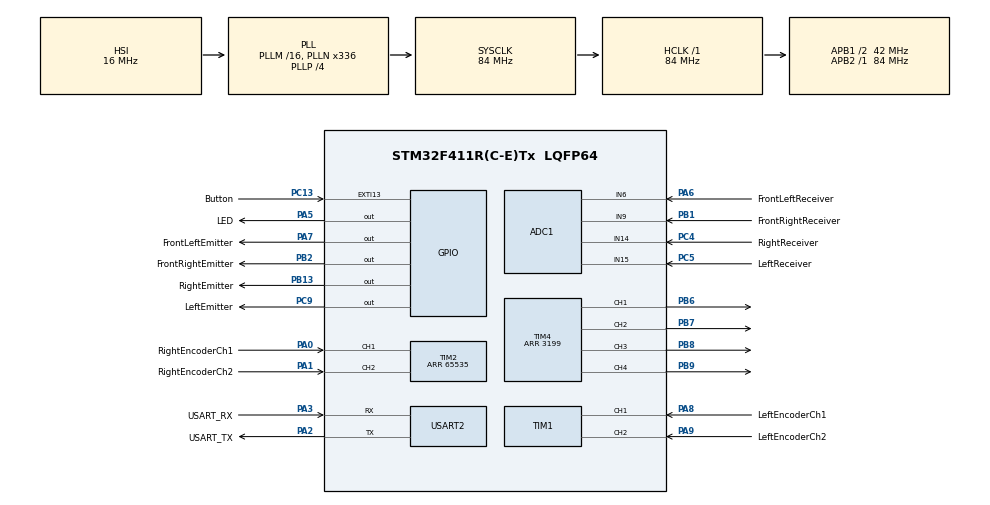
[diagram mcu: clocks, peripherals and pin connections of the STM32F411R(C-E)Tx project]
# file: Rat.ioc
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ADC1.Channel-0\#ChannelRegularConversion=ADC_CHANNEL_15
ADC1.ContinuousConvMode=ENABLE
ADC1.DMAContinuousRequests=ENABLE
ADC1.NbrOfConversionFlag=1
ADC1.Rank-0\#ChannelRegularConversion=1
ADC1.SamplingTime-0\#ChannelRegularConversion=ADC_SAMPLETIME_3CYCLES
ADC1.master=1
Dma.ADC1.0.Direction=DMA_PERIPH_TO_MEMORY
Dma.ADC1.0.FIFOMode=DMA_FIFOMODE_DISABLE
Dma.ADC1.0.Instance=DMA2_Stream0
Dma.ADC1.0.MemDataAlignment=DMA_MDATAALIGN_HALFWORD
Dma.ADC1.0.MemInc=DMA_MINC_ENABLE
Dma.ADC1.0.Mode=DMA_NORMAL
Dma.ADC1.0.PeriphDataAlignment=DMA_PDATAALIGN_HALFWORD
Dma.ADC1.0.PeriphInc=DMA_PINC_DISABLE
Dma.ADC1.0.Priority=DMA_PRIORITY_LOW
Dma.Request0=ADC1
Mcu.Family=STM32F4
Mcu.Name=STM32F411R(C-E)Tx
Mcu.Package=LQFP64
NVIC.DMA2_Stream0_IRQn=true\:0\:0\:false\:false\:true\:false\:true\:true
NVIC.EXTI15_10_IRQn=true\:0\:0\:false\:false\:true\:true\:true\:true
NVIC.PriorityGroup=NVIC_PRIORITYGROUP_0
NVIC.TIM4_IRQn=true\:0\:0\:false\:false\:true\:true\:true\:true
PA0-WKUP.GPIO_Label=RightEncoderCh1
PA0-WKUP.Signal=S_TIM2_CH1_ETR
PA1.GPIO_Label=RightEncoderCh2
PA1.Signal=S_TIM2_CH2
PA13.GPIO_Label=TMS
PA13.Mode=Serial_Wire
PA13.Signal=SYS_JTMS-SWDIO
PA14.GPIO_Label=TCK
PA14.Mode=Serial_Wire
PA14.Signal=SYS_JTCK-SWCLK
PA2.GPIO_Label=USART_TX
PA2.Mode=Asynchronous
PA2.Signal=USART2_TX
PA3.GPIO_Label=USART_RX
PA3.Mode=Asynchronous
PA3.Signal=USART2_RX
PA5.GPIO_Label=LED
PA5.Signal=GPIO_Output
PA6.GPIO_Label=FrontLeftReceiver
PA6.Signal=ADCx_IN6
PA7.GPIO_Label=FrontLeftEmitter
PA7.Signal=GPIO_Output
PA8.GPIO_Label=LeftEncoderCh1
PA8.Signal=S_TIM1_CH1
PA9.GPIO_Label=LeftEncoderCh2
PA9.Signal=S_TIM1_CH2
PB1.GPIO_Label=FrontRightReceiver
PB1.Signal=ADCx_IN9
PB13.GPIO_Label=RightEmitter
PB13.Signal=GPIO_Output
PB2.GPIO_Label=FrontRightEmitter
PB2.Signal=GPIO_Output
PB3.GPIO_Label=SWO
PB3.Signal=SYS_JTDO-SWO
PB6.Signal=S_TIM4_CH1
PB7.Signal=S_TIM4_CH2
PB8.Signal=S_TIM4_CH3
PB9.Signal=S_TIM4_CH4
PC13-ANTI_TAMP.GPIO_Label=Button
PC13-ANTI_TAMP.GPIO_ModeDefaultEXTI=GPIO_MODE_IT_RISING_FALLING
PC13-ANTI_TAMP.Signal=GPXTI13
PC14-OSC32_IN.Mode=LSE-External-Oscillator
PC14-OSC32_IN.Signal=RCC_OSC32_IN
PC15-OSC32_OUT.Mode=LSE-External-Oscillator
PC15-OSC32_OUT.Signal=RCC_OSC32_OUT
PC4.GPIO_Label=RightReceiver
PC4.Signal=ADCx_IN14
PC5.GPIO_Label=LeftReceiver
PC5.Signal=ADCx_IN15
PC9.GPIO_Label=LeftEmitter
PC9.Signal=GPIO_Output
PH0\ -\ OSC_IN.Mode=HSE-External-Clock-Source
PH0\ -\ OSC_IN.Signal=RCC_OSC_IN
PH1\ -\ OSC_OUT.Mode=HSE-External-Clock-Source
PH1\ -\ OSC_OUT.Signal=RCC_OSC_OUT
ProjectManager.HeapSize=0x200
ProjectManager.StackSize=0x400
ProjectManager.TargetToolchain=STM32CubeIDE
RCC.48MHZClocksFreq_Value=84000000
RCC.AHBFreq_Value=84000000
RCC.APB1CLKDivider=RCC_HCLK_DIV2
RCC.APB1Freq_Value=42000000
RCC.APB1TimFreq_Value=84000000
RCC.APB2Freq_Value=84000000
RCC.APB2TimFreq_Value=84000000
RCC.CortexFreq_Value=84000000
RCC.FLatency-AdvancedSettings=FLASH_LATENCY_2
RCC.HCLKFreq_Value=84000000
RCC.HSE_VALUE=8000000
RCC.HSI_VALUE=16000000
RCC.PLLN=336
RCC.PLLP=RCC_PLLP_DIV4
RCC.SYSCLKFreq_VALUE=84000000
RCC.SYSCLKSource=RCC_SYSCLKSOURCE_PLLCLK
RCC.VCOOutputFreq_Value=336000000
SH.ADCx_IN14.0=ADC1_IN14,IN14
SH.ADCx_IN15.0=ADC1_IN15,IN15
SH.ADCx_IN6.0=ADC1_IN6,IN6
SH.ADCx_IN9.0=ADC1_IN9,IN9
SH.S_TIM1_CH1.0=TIM1_CH1,Encoder_Interface
SH.S_TIM1_CH2.0=TIM1_CH2,Encoder_Interface
SH.S_TIM2_CH1_ETR.0=TIM2_CH1,Encoder_Interface
SH.S_TIM2_CH2.0=TIM2_CH2,Encoder_Interface
SH.S_TIM4_CH1.0=TIM4_CH1,PWM Generation1 CH1
SH.S_TIM4_CH2.0=TIM4_CH2,PWM Generation2 CH2
SH.S_TIM4_CH3.0=TIM4_CH3,PWM Generation3 CH3
SH.S_TIM4_CH4.0=TIM4_CH4,PWM Generation4 CH4
TIM1.EncoderMode=TIM_ENCODERMODE_TI12
TIM2.EncoderMode=TIM_ENCODERMODE_TI12
TIM2.Period=65535
TIM4.Channel-PWM\ Generation1\ CH1=TIM_CHANNEL_1
TIM4.Channel-PWM\ Generation2\ CH2=TIM_CHANNEL_2
TIM4.Channel-PWM\ Generation3\ CH3=TIM_CHANNEL_3
TIM4.Channel-PWM\ Generation4\ CH4=TIM_CHANNEL_4
TIM4.Period=3199
USART2.VirtualMode=VM_ASYNC
board=NUCLEO-F411RE

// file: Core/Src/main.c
/* USER CODE BEGIN Header */
/**
  ******************************************************************************
  * @file           : main.c
  * @brief          : Main program body
  ******************************************************************************
  * @attention
  *
  * Copyright (c) 2023 STMicroelectronics.
  * All rights reserved.
  *
  * This software is licensed under terms that can be found in the LICENSE file
  * in the root directory of this software component.
  * If no LICENSE file comes with this software, it is provided AS-IS.
  *
  ******************************************************************************
  */
/* USER CODE END Header */
#include "main.h"

/* USER CODE BEGIN Includes */
#include "motors.h"
#include "encoders.h"
#include "controller.h"
#include "delay.h"
#include "irs.h"
/* USER CODE END Includes */

ADC_HandleTypeDef hadc1;
DMA_HandleTypeDef hdma_adc1;

TIM_HandleTypeDef htim1;
TIM_HandleTypeDef htim2;
TIM_HandleTypeDef htim4;

UART_HandleTypeDef huart2;

/* USER CODE BEGIN PV */
int16_t left_counts = 0;
int16_t right_counts = 0;
int16_t frontIR = 0;
int16_t leftIR = 0;

/* USER CODE END PV */

void SystemClock_Config(void);
static void MX_GPIO_Init(void);
static void MX_DMA_Init(void);
static void MX_USART2_UART_Init(void);
static void MX_TIM1_Init(void);
static void MX_TIM2_Init(void);
static void MX_TIM4_Init(void);
static void MX_ADC1_Init(void);

int main(void)
{

  /* MCU Configuration--------------------------------------------------------*/

  /* Reset of all peripherals, Initializes the Flash interface and the Systick. */
  HAL_Init();

  /* USER CODE BEGIN Init */
  Delay_Init();
  /* USER CODE END Init */

  /* Configure the system clock */
  SystemClock_Config();

  /* Initialize all configured peripherals */
  MX_GPIO_Init();
  MX_DMA_Init();
  MX_USART2_UART_Init();
  MX_TIM1_Init();
  MX_TIM2_Init();
  MX_TIM4_Init();
  MX_ADC1_Init();
  /* USER CODE BEGIN 2 */
  HAL_TIM_Encoder_Start(&htim1, TIM_CHANNEL_ALL);
  HAL_TIM_Encoder_Start(&htim2, TIM_CHANNEL_ALL);
  HAL_TIM_PWM_Start(&htim4, TIM_CHANNEL_1);
  HAL_TIM_PWM_Start(&htim4, TIM_CHANNEL_2);
  HAL_TIM_PWM_Start(&htim4, TIM_CHANNEL_3);
  HAL_TIM_PWM_Start(&htim4, TIM_CHANNEL_4);

  /* USER CODE END 2 */

  /* Infinite loop */
  /* USER CODE BEGIN WHILE */

  while (1)
  {
	  setMotorLPWM(0.6);
	  setMotorRPWM(0.6);
	  left_counts = getLeftEncoderCounts();
	  right_counts = getRightEncoderCounts();

	  frontIR = (readFrontRightIR()+readFrontLeftIR())/2;
	  leftIR = readLeftIR();

	  int thresholdFront = 1800;
	  int thresholdSide = 1900;

	/* if ((readFrontRightIR()+readFrontLeftIR())/2 >= thresholdFront){
		  move(1);
	  }
	  else if ((readFrontRightIR()+readFrontLeftIR())/2 >= thresholdFront && readRightIR() <= thresholdSide){
		  turn(1);
	  }
	  else
		  turn(-1);*/
    /* USER CODE END WHILE */

  }
}

void SystemClock_Config(void)
{
  RCC_OscInitTypeDef RCC_OscInitStruct = {0};
  RCC_ClkInitTypeDef RCC_ClkInitStruct = {0};

  /** Configure the main internal regulator output voltage
  */
  __HAL_RCC_PWR_CLK_ENABLE();
  __HAL_PWR_VOLTAGESCALING_CONFIG(PWR_REGULATOR_VOLTAGE_SCALE1);

  /** Initializes the RCC Oscillators according to the specified parameters
  * in the RCC_OscInitTypeDef structure.
  */
  RCC_OscInitStruct.OscillatorType = RCC_OSCILLATORTYPE_HSI;
  RCC_OscInitStruct.HSIState = RCC_HSI_ON;
  RCC_OscInitStruct.HSICalibrationValue = RCC_HSICALIBRATION_DEFAULT;
  RCC_OscInitStruct.PLL.PLLState = RCC_PLL_ON;
  RCC_OscInitStruct.PLL.PLLSource = RCC_PLLSOURCE_HSI;
  RCC_OscInitStruct.PLL.PLLM = 16;
  RCC_OscInitStruct.PLL.PLLN = 336;
  RCC_OscInitStruct.PLL.PLLP = RCC_PLLP_DIV4;
  RCC_OscInitStruct.PLL.PLLQ = 4;
  if (HAL_RCC_OscConfig(&RCC_OscInitStruct) != HAL_OK)
  {
    Error_Handler();
  }

  /** Initializes the CPU, AHB and APB buses clocks
  */
  RCC_ClkInitStruct.ClockType = RCC_CLOCKTYPE_HCLK|RCC_CLOCKTYPE_SYSCLK
                              |RCC_CLOCKTYPE_PCLK1|RCC_CLOCKTYPE_PCLK2;
  RCC_ClkInitStruct.SYSCLKSource = RCC_SYSCLKSOURCE_PLLCLK;
  RCC_ClkInitStruct.AHBCLKDivider = RCC_SYSCLK_DIV1;
  RCC_ClkInitStruct.APB1CLKDivider = RCC_HCLK_DIV2;
  RCC_ClkInitStruct.APB2CLKDivider = RCC_HCLK_DIV1;

  if (HAL_RCC_ClockConfig(&RCC_ClkInitStruct, FLASH_LATENCY_2) != HAL_OK)
  {
    Error_Handler();
  }
}

static void MX_ADC1_Init(void)
{

  ADC_ChannelConfTypeDef sConfig = {0};

  /** Configure the global features of the ADC (Clock, Resolution, Data Alignment and number of conversion)
  */
  hadc1.Instance = ADC1;
  hadc1.Init.ClockPrescaler = ADC_CLOCK_SYNC_PCLK_DIV4;
  hadc1.Init.Resolution = ADC_RESOLUTION_12B;
  hadc1.Init.ScanConvMode = DISABLE;
  hadc1.Init.ContinuousConvMode = ENABLE;
  hadc1.Init.DiscontinuousConvMode = DISABLE;
  hadc1.Init.ExternalTrigConvEdge = ADC_EXTERNALTRIGCONVEDGE_NONE;
  hadc1.Init.ExternalTrigConv = ADC_SOFTWARE_START;
  hadc1.Init.DataAlign = ADC_DATAALIGN_RIGHT;
  hadc1.Init.NbrOfConversion = 1;
  hadc1.Init.DMAContinuousRequests = ENABLE;
  hadc1.Init.EOCSelection = ADC_EOC_SINGLE_CONV;
  if (HAL_ADC_Init(&hadc1) != HAL_OK)
  {
    Error_Handler();
  }

  /** Configure for the selected ADC regular channel its corresponding rank in the sequencer and its sample time.
  */
  sConfig.Channel = ADC_CHANNEL_15;
  sConfig.Rank = 1;
  sConfig.SamplingTime = ADC_SAMPLETIME_3CYCLES;
  if (HAL_ADC_ConfigChannel(&hadc1, &sConfig) != HAL_OK)
  {
    Error_Handler();
  }

}

static void MX_TIM1_Init(void)
{

  TIM_Encoder_InitTypeDef sConfig = {0};
  TIM_MasterConfigTypeDef sMasterConfig = {0};

  htim1.Instance = TIM1;
  htim1.Init.Prescaler = 0;
  htim1.Init.CounterMode = TIM_COUNTERMODE_UP;
  htim1.Init.Period = 65535;
  htim1.Init.ClockDivision = TIM_CLOCKDIVISION_DIV1;
  htim1.Init.RepetitionCounter = 0;
  htim1.Init.AutoReloadPreload = TIM_AUTORELOAD_PRELOAD_DISABLE;
  sConfig.EncoderMode = TIM_ENCODERMODE_TI12;
  sConfig.IC1Polarity = TIM_ICPOLARITY_RISING;
  sConfig.IC1Selection = TIM_ICSELECTION_DIRECTTI;
  sConfig.IC1Prescaler = TIM_ICPSC_DIV1;
  sConfig.IC1Filter = 0;
  sConfig.IC2Polarity = TIM_ICPOLARITY_RISING;
  sConfig.IC2Selection = TIM_ICSELECTION_DIRECTTI;
  sConfig.IC2Prescaler = TIM_ICPSC_DIV1;
  sConfig.IC2Filter = 0;
  if (HAL_TIM_Encoder_Init(&htim1, &sConfig) != HAL_OK)
  {
    Error_Handler();
  }
  sMasterConfig.MasterOutputTrigger = TIM_TRGO_RESET;
  sMasterConfig.MasterSlaveMode = TIM_MASTERSLAVEMODE_DISABLE;
  if (HAL_TIMEx_MasterConfigSynchronization(&htim1, &sMasterConfig) != HAL_OK)
  {
    Error_Handler();
  }

}

static void MX_TIM2_Init(void)
{

  TIM_Encoder_InitTypeDef sConfig = {0};
  TIM_MasterConfigTypeDef sMasterConfig = {0};

  htim2.Instance = TIM2;
  htim2.Init.Prescaler = 0;
  htim2.Init.CounterMode = TIM_COUNTERMODE_UP;
  htim2.Init.Period = 65535;
  htim2.Init.ClockDivision = TIM_CLOCKDIVISION_DIV1;
  htim2.Init.AutoReloadPreload = TIM_AUTORELOAD_PRELOAD_DISABLE;
  sConfig.EncoderMode = TIM_ENCODERMODE_TI12;
  sConfig.IC1Polarity = TIM_ICPOLARITY_RISING;
  sConfig.IC1Selection = TIM_ICSELECTION_DIRECTTI;
  sConfig.IC1Prescaler = TIM_ICPSC_DIV1;
  sConfig.IC1Filter = 0;
  sConfig.IC2Polarity = TIM_ICPOLARITY_RISING;
  sConfig.IC2Selection = TIM_ICSELECTION_DIRECTTI;
  sConfig.IC2Prescaler = TIM_ICPSC_DIV1;
  sConfig.IC2Filter = 0;
  if (HAL_TIM_Encoder_Init(&htim2, &sConfig) != HAL_OK)
  {
    Error_Handler();
  }
  sMasterConfig.MasterOutputTrigger = TIM_TRGO_RESET;
  sMasterConfig.MasterSlaveMode = TIM_MASTERSLAVEMODE_DISABLE;
  if (HAL_TIMEx_MasterConfigSynchronization(&htim2, &sMasterConfig) != HAL_OK)
  {
    Error_Handler();
  }

}

static void MX_TIM4_Init(void)
{

  TIM_MasterConfigTypeDef sMasterConfig = {0};
  TIM_OC_InitTypeDef sConfigOC = {0};

  htim4.Instance = TIM4;
  htim4.Init.Prescaler = 0;
  htim4.Init.CounterMode = TIM_COUNTERMODE_UP;
  htim4.Init.Period = 3199;
  htim4.Init.ClockDivision = TIM_CLOCKDIVISION_DIV1;
  htim4.Init.AutoReloadPreload = TIM_AUTORELOAD_PRELOAD_DISABLE;
  if (HAL_TIM_PWM_Init(&htim4) != HAL_OK)
  {
    Error_Handler();
  }
  sMasterConfig.MasterOutputTrigger = TIM_TRGO_RESET;
  sMasterConfig.MasterSlaveMode = TIM_MASTERSLAVEMODE_DISABLE;
  if (HAL_TIMEx_MasterConfigSynchronization(&htim4, &sMasterConfig) != HAL_OK)
  {
    Error_Handler();
  }
  sConfigOC.OCMode = TIM_OCMODE_PWM1;
  sConfigOC.Pulse = 0;
  sConfigOC.OCPolarity = TIM_OCPOLARITY_HIGH;
  sConfigOC.OCFastMode = TIM_OCFAST_DISABLE;
  if (HAL_TIM_PWM_ConfigChannel(&htim4, &sConfigOC, TIM_CHANNEL_1) != HAL_OK)
  {
    Error_Handler();
  }
  if (HAL_TIM_PWM_ConfigChannel(&htim4, &sConfigOC, TIM_CHANNEL_2) != HAL_OK)
  {
    Error_Handler();
  }
  if (HAL_TIM_PWM_ConfigChannel(&htim4, &sConfigOC, TIM_CHANNEL_3) != HAL_OK)
  {
    Error_Handler();
  }
  if (HAL_TIM_PWM_ConfigChannel(&htim4, &sConfigOC, TIM_CHANNEL_4) != HAL_OK)
  {
    Error_Handler();
  }
  HAL_TIM_MspPostInit(&htim4);

}

static void MX_USART2_UART_Init(void)
{

  huart2.Instance = USART2;
  huart2.Init.BaudRate = 115200;
  huart2.Init.WordLength = UART_WORDLENGTH_8B;
  huart2.Init.StopBits = UART_STOPBITS_1;
  huart2.Init.Parity = UART_PARITY_NONE;
  huart2.Init.Mode = UART_MODE_TX_RX;
  huart2.Init.HwFlowCtl = UART_HWCONTROL_NONE;
  huart2.Init.OverSampling = UART_OVERSAMPLING_16;
  if (HAL_UART_Init(&huart2) != HAL_OK)
  {
    Error_Handler();
  }

}

static void MX_DMA_Init(void)
{

  /* DMA controller clock enable */
  __HAL_RCC_DMA2_CLK_ENABLE();

  /* DMA interrupt init */
  /* DMA2_Stream0_IRQn interrupt configuration */
  HAL_NVIC_SetPriority(DMA2_Stream0_IRQn, 0, 0);
  HAL_NVIC_EnableIRQ(DMA2_Stream0_IRQn);

}

static void MX_GPIO_Init(void)
{
  GPIO_InitTypeDef GPIO_InitStruct = {0};

  /* GPIO Ports Clock Enable */
  __HAL_RCC_GPIOC_CLK_ENABLE();
  __HAL_RCC_GPIOH_CLK_ENABLE();
  __HAL_RCC_GPIOA_CLK_ENABLE();
  __HAL_RCC_GPIOB_CLK_ENABLE();

  /*Configure GPIO pin Output Level */
  HAL_GPIO_WritePin(GPIOA, LED_Pin|FrontLeftEmitter_Pin, GPIO_PIN_RESET);

  /*Configure GPIO pin Output Level */
  HAL_GPIO_WritePin(GPIOB, FrontRightEmitter_Pin|RightEmitter_Pin, GPIO_PIN_RESET);

  /*Configure GPIO pin Output Level */
  HAL_GPIO_WritePin(LeftEmitter_GPIO_Port, LeftEmitter_Pin, GPIO_PIN_RESET);

  /*Configure GPIO pin : Button_Pin */
  GPIO_InitStruct.Pin = Button_Pin;
  GPIO_InitStruct.Mode = GPIO_MODE_IT_RISING_FALLING;
  GPIO_InitStruct.Pull = GPIO_NOPULL;
  HAL_GPIO_Init(Button_GPIO_Port, &GPIO_InitStruct);

  /*Configure GPIO pins : LED_Pin FrontLeftEmitter_Pin */
  GPIO_InitStruct.Pin = LED_Pin|FrontLeftEmitter_Pin;
  GPIO_InitStruct.Mode = GPIO_MODE_OUTPUT_PP;
  GPIO_InitStruct.Pull = GPIO_NOPULL;
  GPIO_InitStruct.Speed = GPIO_SPEED_FREQ_LOW;
  HAL_GPIO_Init(GPIOA, &GPIO_InitStruct);

  /*Configure GPIO pins : FrontRightEmitter_Pin RightEmitter_Pin */
  GPIO_InitStruct.Pin = FrontRightEmitter_Pin|RightEmitter_Pin;
  GPIO_InitStruct.Mode = GPIO_MODE_OUTPUT_PP;
  GPIO_InitStruct.Pull = GPIO_NOPULL;
  GPIO_InitStruct.Speed = GPIO_SPEED_FREQ_LOW;
  HAL_GPIO_Init(GPIOB, &GPIO_InitStruct);

  /*Configure GPIO pin : LeftEmitter_Pin */
  GPIO_InitStruct.Pin = LeftEmitter_Pin;
  GPIO_InitStruct.Mode = GPIO_MODE_OUTPUT_PP;
  GPIO_InitStruct.Pull = GPIO_NOPULL;
  GPIO_InitStruct.Speed = GPIO_SPEED_FREQ_LOW;
  HAL_GPIO_Init(LeftEmitter_GPIO_Port, &GPIO_InitStruct);

  /* EXTI interrupt init*/
  HAL_NVIC_SetPriority(EXTI15_10_IRQn, 0, 0);
  HAL_NVIC_EnableIRQ(EXTI15_10_IRQn);

}

/* USER CODE BEGIN 4 */
ADC_HandleTypeDef* Get_HADC1_Ptr(void)
{
	return &hadc1;
}

void HAL_GPIO_EXTI_Callback(uint16_t GPIO_PIN)
{
	if (GPIO_PIN == Button_Pin)
	{
		if (HAL_GPIO_ReadPin(Button_GPIO_Port, Button_Pin) == GPIO_PIN_SET){
				HAL_GPIO_WritePin(LED_GPIO_Port, LED_Pin, GPIO_PIN_RESET);
		}
		else {
				HAL_GPIO_WritePin(LED_GPIO_Port, LED_Pin, GPIO_PIN_SET);
		}
	}

}

/* USER CODE END 4 */

void Error_Handler(void)
{
  __disable_irq();
  while (1)
  {
  }
}
